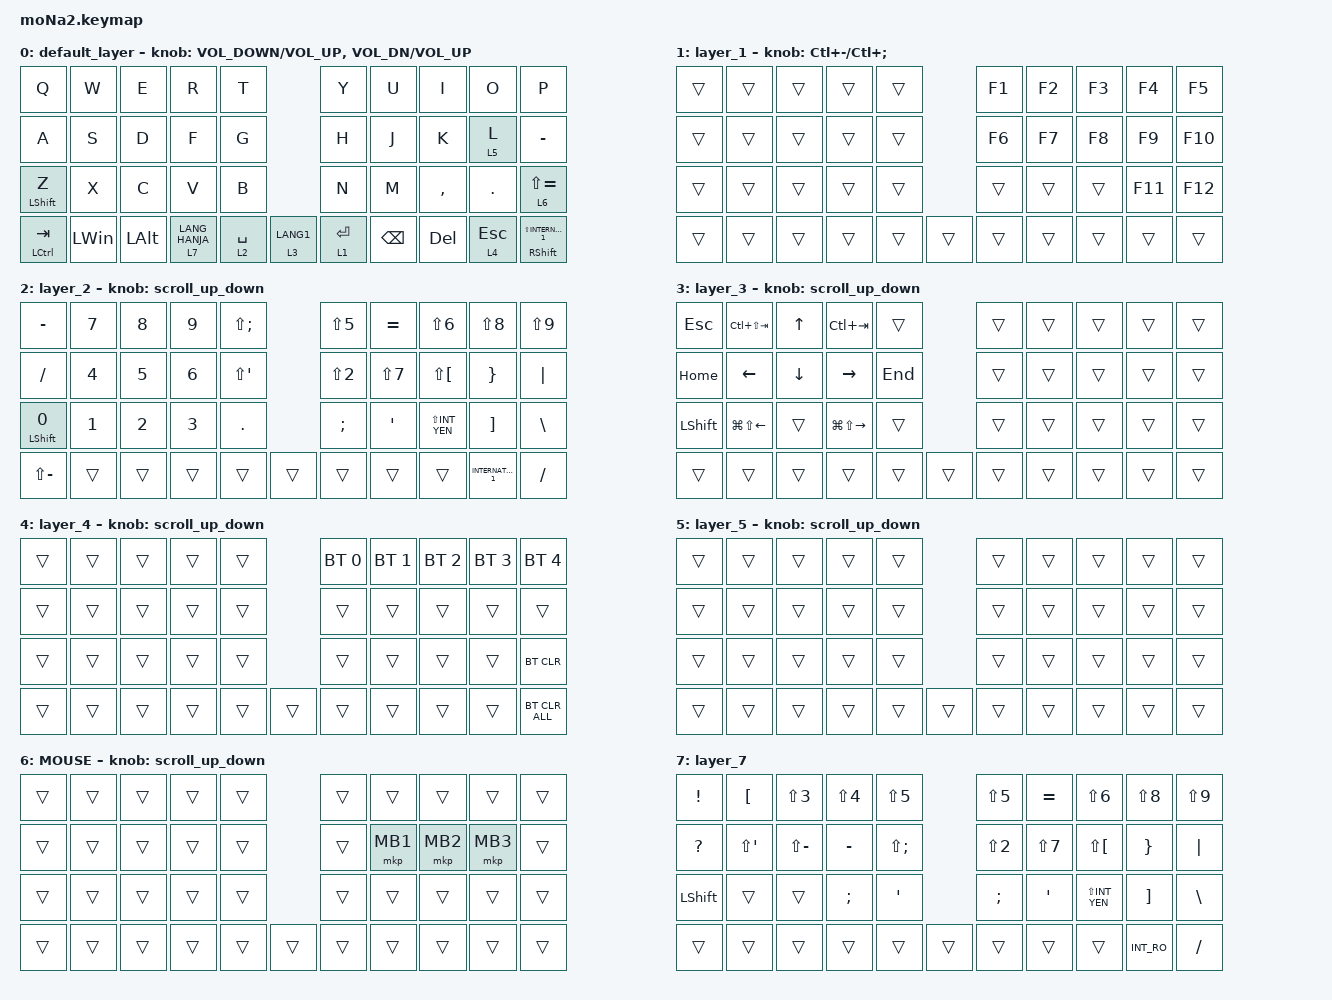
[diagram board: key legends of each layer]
#include <behaviors.dtsi>
#include <dt-bindings/zmk/bt.h>
#include <dt-bindings/zmk/keys.h>
#include <dt-bindings/zmk/pointing.h>

#define ZMK_POINTING_DEFAULT_SCRL_VAL 100
#define MOUSE 6

&mt {
    flavor = "balanced";
    quick-tap-ms = <0>;
};

/ {
    combos { compatible = "zmk,combos"; };

    macros {
        to_layer_0: to_layer_0 {
            compatible = "zmk,behavior-macro-one-param";
            #binding-cells = <1>;
            bindings = <&to 0 &macro_param_1to1 &kp MACRO_PLACEHOLDER>;
            label = "TO_LAYER_0";
        };
    };

    behaviors {
        lt_to_layer_0: lt_to_layer_0 {
            compatible = "zmk,behavior-hold-tap";
            label = "LAYER_TAP_TO_0";
            bindings = <&mo>, <&to_layer_0>;

            #binding-cells = <2>;
            tapping-term-ms = <300>;
        };

        scroll_up_down: behavior_sensor_rotate_mouse_wheel_up_down {
            compatible = "zmk,behavior-sensor-rotate";
            #sensor-binding-cells = <0>;
            bindings = <&msc SCRL_UP>, <&msc SCRL_DOWN>;

            tap-ms = <20>;
        };
    };

    keymap {
        compatible = "zmk,keymap";

        default_layer {
            bindings = <
&kp Q                 &kp W         &kp E         &kp R             &kp T                         &kp Y        &kp U          &kp I      &kp O         &kp P
&kp A                 &kp S         &kp D         &kp F             &kp G                         &kp H        &kp J          &kp K      &lt 5 L       &kp MINUS
&mt LEFT_SHIFT Z      &kp X         &kp C         &kp V             &kp B                         &kp N        &kp M          &kp COMMA  &kp PERIOD    &lt 6 LS(EQUAL)
&mt LEFT_CONTROL TAB  &kp LEFT_WIN  &kp LEFT_ALT  &lt 7 LANG_HANJA  &lt 2 SPACE  &lt 3 LANG1      &lt 1 ENTER  &kp BACKSPACE  &kp DEL    &lt 4 ESCAPE  &mt RIGHT_SHIFT LS(INTERNATIONAL_1)
            >;

            sensor-bindings =
                <&inc_dec_kp C_VOLUME_DOWN C_VOLUME_UP>,
                <&inc_dec_kp C_VOL_DN C_VOL_UP>;
        };

        layer_1 {
            bindings = <
&trans  &trans  &trans  &trans  &trans              &kp F1  &kp F2  &kp F3  &kp F4   &kp F5
&trans  &trans  &trans  &trans  &trans              &kp F6  &kp F7  &kp F8  &kp F9   &kp F10
&trans  &trans  &trans  &trans  &trans              &trans  &trans  &trans  &kp F11  &kp F12
&trans  &trans  &trans  &trans  &trans  &trans      &trans  &trans  &trans  &trans   &trans
            >;

            sensor-bindings = <&inc_dec_kp LC(MINUS) LC(SEMICOLON)>;
        };

        layer_2 {
            bindings = <
&kp MINUS          &kp N7  &kp N8  &kp N9  &kp LS(SEMICOLON)              &kp LS(N5)     &kp EQUAL   &kp LS(N6)            &kp LS(N8)           &kp LS(N9)
&kp SLASH          &kp N4  &kp N5  &kp N6  &kp LS(SQT)                    &kp LS(N2)     &kp LS(N7)  &kp LS(LEFT_BRACKET)  &kp RIGHT_BRACE      &kp PIPE
&mt LEFT_SHIFT N0  &kp N1  &kp N2  &kp N3  &kp PERIOD                     &kp SEMICOLON  &kp SQT     &kp LS(INT_YEN)       &kp RIGHT_BRACKET    &kp BACKSLASH
&kp LS(MINUS)      &trans  &trans  &trans  &trans             &trans      &trans         &trans      &trans                &kp INTERNATIONAL_1  &kp SLASH
            >;

            sensor-bindings = <&scroll_up_down>;
        };

        layer_3 {
            bindings = <
&kp ESCAPE      &kp LC(LS(TAB))         &kp UP_ARROW    &kp LC(TAB)              &trans               &trans  &trans  &trans  &trans  &trans
&kp HOME        &kp LEFT_ARROW          &kp DOWN_ARROW  &kp RIGHT_ARROW          &kp END              &trans  &trans  &trans  &trans  &trans
&kp LEFT_SHIFT  &kp LG(LS(LEFT_ARROW))  &trans          &kp LG(LS(RIGHT_ARROW))  &trans               &trans  &trans  &trans  &trans  &trans
&trans          &trans                  &trans          &trans                   &trans   &trans      &trans  &trans  &trans  &trans  &trans
            >;

            sensor-bindings = <&scroll_up_down>;
        };

        layer_4 {
            bindings = <
&trans  &trans  &trans  &trans  &trans              &bt BT_SEL 0  &bt BT_SEL 1  &bt BT_SEL 2  &bt BT_SEL 3  &bt BT_SEL 4
&trans  &trans  &trans  &trans  &trans              &trans        &trans        &trans        &trans        &trans
&trans  &trans  &trans  &trans  &trans              &trans        &trans        &trans        &trans        &bt BT_CLR
&trans  &trans  &trans  &trans  &trans  &trans      &trans        &trans        &trans        &trans        &bt BT_CLR_ALL
            >;

            sensor-bindings = <&scroll_up_down>;
        };

        layer_5 {
            bindings = <
&trans  &trans  &trans  &trans  &trans              &trans  &trans  &trans  &trans  &trans
&trans  &trans  &trans  &trans  &trans              &trans  &trans  &trans  &trans  &trans
&trans  &trans  &trans  &trans  &trans              &trans  &trans  &trans  &trans  &trans
&trans  &trans  &trans  &trans  &trans  &trans      &trans  &trans  &trans  &trans  &trans
            >;

            sensor-bindings = <&scroll_up_down>;
        };

        MOUSE {
            bindings = <
&trans  &trans  &trans  &trans  &trans              &trans  &trans    &trans    &trans    &trans
&trans  &trans  &trans  &trans  &trans              &trans  &mkp MB1  &mkp MB2  &mkp MB3  &trans
&trans  &trans  &trans  &trans  &trans              &trans  &trans    &trans    &trans    &trans
&trans  &trans  &trans  &trans  &trans  &trans      &trans  &trans    &trans    &trans    &trans
            >;

            sensor-bindings = <&scroll_up_down>;
        };

        layer_7 {
            bindings = <
&kp EXCLAMATION  &kp LEFT_BRACKET  &kp LS(NUMBER_3)  &kp LS(NUMBER_4)  &kp LS(N5)                &kp LS(N5)        &kp EQUAL   &kp LS(NUMBER_6)      &kp LS(N8)         &kp LS(N9)
&kp QUESTION     &kp LS(SQT)       &kp LS(MINUS)     &kp MINUS         &kp LS(SEMI)              &kp LS(NUMBER_2)  &kp LS(N7)  &kp LS(LEFT_BRACKET)  &kp RIGHT_BRACE    &kp PIPE
&kp LEFT_SHIFT   &trans            &trans            &kp SEMICOLON     &kp SQT                   &kp SEMICOLON     &kp SQT     &kp LS(INT_YEN)       &kp RIGHT_BRACKET  &kp BACKSLASH
&trans           &trans            &trans            &trans            &trans        &trans      &trans            &trans      &trans                &kp INT_RO         &kp SLASH
            >;
        };
    };
};
